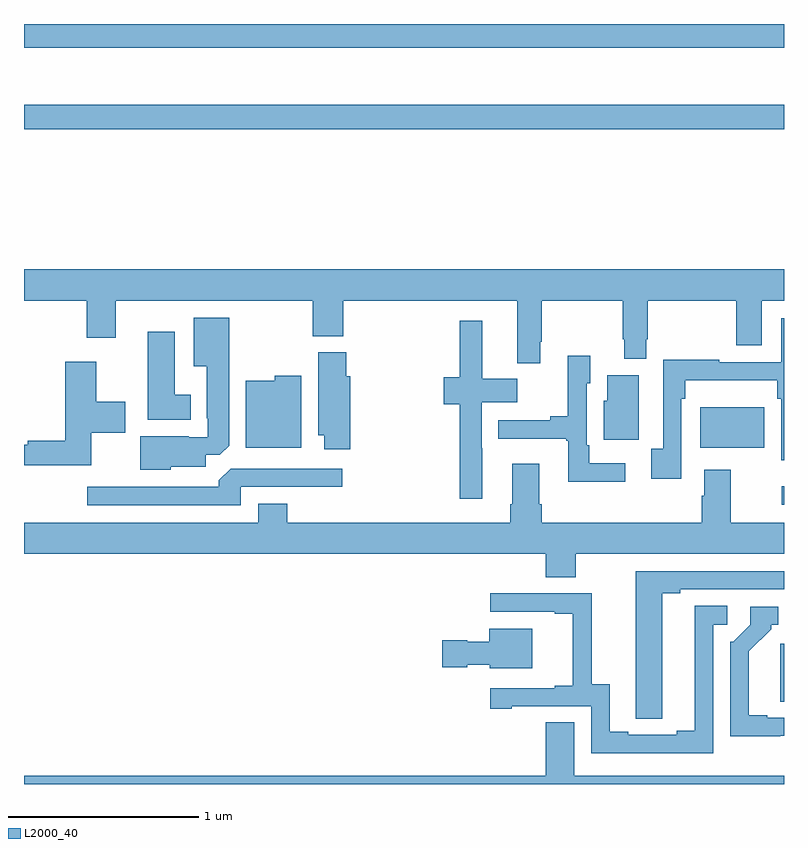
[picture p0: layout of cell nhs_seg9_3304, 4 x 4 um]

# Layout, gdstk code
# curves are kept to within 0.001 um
import gdstk
lib = gdstk.Library(unit=1e-6, precision=1e-09)
def R(c, l, rs):  # rectangles x0, y0, x1, y1
    for r in rs: c.add(gdstk.rectangle(r[:2], r[2:], *l))
def P(c, l, *ps):  # polygons
    for p in ps: c.add(gdstk.Polygon(p, *l))
L2000_40 = (2000, 40)

nhs_seg9_3304 = lib.new_cell('nhs_seg9_3304')
R(nhs_seg9_3304, L2000_40, [(302.981,1236.934,303,1237.237), (302.988,1237.971,303,1238.068), (302.558,1238.27,302.896,1238.482), (299,1239.946,303,1240.075), (299,1240.376,303,1240.5)])
P(nhs_seg9_3304, L2000_40, [(301.717,1238.827),(301.725,1238.827),(301.725,1239.044),(302.152,1239.044),(302.152,1238.842),(302.159,1238.842),(302.159,1238.737),(302.275,1238.737),(302.275,1238.842),(302.283,1238.842),(302.283,1239.044),(302.749,1239.044),(302.749,1238.808),(302.884,1238.808),(302.884,1239.044),(303,1239.044),(303,1239.208),(299,1239.208),(299,1239.044),(299.33,1239.044),(299.33,1238.85),(299.482,1238.85),(299.482,1239.044),(300.52,1239.044),(300.52,1238.857),(300.68,1238.857),(300.68,1239.044),(301.595,1239.044),(301.595,1238.715),(301.717,1238.715)],
  [(299.772,1238.171),(299.956,1238.171),(299.956,1238.232),(300.03,1238.232),(300.079,1238.281),(300.079,1238.953),(299.894,1238.953),(299.894,1238.699),(299.963,1238.699),(299.963,1238.425),(299.967,1238.425),(299.967,1238.325),(299.867,1238.325),(299.867,1238.329),(299.612,1238.329),(299.612,1238.153),(299.772,1238.153)],
  [(302.46,1238.528),(302.48,1238.528),(302.48,1238.624),(302.965,1238.624),(302.965,1238.528),(302.985,1238.528),(302.985,1238.204),(303,1238.204),(303,1238.952),(302.985,1238.952),(302.985,1238.721),(302.66,1238.721),(302.66,1238.734),(302.364,1238.734),(302.364,1238.265),(302.301,1238.265),(302.301,1238.106),(302.46,1238.106)],
  [(301.411,1238.267),(301.41,1238.267),(301.41,1238.51),(301.595,1238.51),(301.595,1238.632),(301.412,1238.632),(301.412,1238.938),(301.294,1238.938),(301.294,1238.64),(301.208,1238.64),(301.208,1238.498),(301.294,1238.498),(301.294,1238.001),(301.411,1238.001)],
  [(299.878,1238.548),(299.794,1238.548),(299.794,1238.881),(299.651,1238.881),(299.651,1238.417),(299.878,1238.417)],
  [(300.716,1238.646),(300.695,1238.646),(300.695,1238.772),(300.548,1238.772),(300.548,1238.336),(300.581,1238.336),(300.581,1238.262),(300.716,1238.262)],
  [(302.164,1238.187),(301.975,1238.187),(301.975,1238.284),(301.962,1238.284),(301.962,1238.61),(301.981,1238.61),(301.981,1238.755),(301.861,1238.755),(301.861,1238.435),(301.769,1238.435),(301.769,1238.415),(301.495,1238.415),(301.495,1238.318),(301.854,1238.318),(301.854,1238.307),(301.865,1238.307),(301.865,1238.09),(302.164,1238.09)],
  [(299.353,1238.348),(299.533,1238.348),(299.533,1238.511),(299.38,1238.511),(299.38,1238.722),(299.218,1238.722),(299.218,1238.306),(299.02,1238.306),(299.02,1238.286),(299,1238.286),(299,1238.178),(299.353,1238.178)],
  [(302.235,1238.416),(302.236,1238.416),(302.236,1238.652),(302.069,1238.652),(302.069,1238.517),(302.051,1238.517),(302.051,1238.313),(302.235,1238.313)],
  [(300.46,1238.65),(300.321,1238.65),(300.321,1238.623),(300.167,1238.623),(300.167,1238.27),(300.46,1238.27)],
  [(301.905,1237.712),(303,1237.712),(303,1237.876),(302.719,1237.876),(302.719,1238.155),(302.579,1238.155),(302.579,1238.018),(302.567,1238.018),(302.567,1237.876),(301.724,1237.876),(301.724,1237.972),(301.711,1237.972),(301.711,1238.185),(301.571,1238.185),(301.571,1237.972),(301.559,1237.972),(301.559,1237.876),(300.386,1237.876),(300.386,1237.975),(300.233,1237.975),(300.233,1237.876),(299,1237.876),(299,1237.712),(301.745,1237.712),(301.745,1237.588),(301.905,1237.588)],
  [(300.141,1238.064),(300.676,1238.064),(300.676,1238.16),(300.087,1238.16),(300.026,1238.098),(300.026,1238.064),(299.334,1238.064),(299.334,1237.968),(300.141,1237.968)],
  [(302.359,1237.504),(302.455,1237.504),(302.455,1237.524),(303,1237.524),(303,1237.62),(302.219,1237.62),(302.219,1236.952),(302.22,1236.952),(302.22,1236.844),(302.359,1236.844)],
  [(302.628,1237.338),(302.701,1237.338),(302.701,1237.439),(302.531,1237.439),(302.531,1236.779),(302.435,1236.779),(302.435,1236.759),(302.179,1236.759),(302.179,1236.774),(302.083,1236.774),(302.083,1237.025),(301.989,1237.025),(301.989,1237.503),(301.455,1237.503),(301.455,1237.407),(301.793,1237.407),(301.793,1237.395),(301.889,1237.395),(301.889,1237.018),(301.793,1237.018),(301.793,1237.005),(301.455,1237.005),(301.455,1236.897),(301.567,1236.897),(301.567,1236.909),(301.986,1236.909),(301.986,1236.663),(302.628,1236.663)],
  [(302.981,1236.753),(303,1236.753),(303,1236.849),(302.911,1236.849),(302.911,1236.862),(302.815,1236.862),(302.815,1237.198),(302.932,1237.315),(302.932,1237.338),(302.971,1237.338),(302.971,1237.434),(302.823,1237.434),(302.823,1237.338),(302.733,1237.248),(302.718,1237.248),(302.718,1236.752)],
  [(301.675,1237.318),(301.448,1237.318),(301.448,1237.249),(301.332,1237.249),(301.332,1237.257),(301.2,1237.257),(301.2,1237.115),(301.332,1237.115),(301.332,1237.127),(301.452,1237.127),(301.452,1237.109),(301.675,1237.109)],
  [(303,1236.544),(301.897,1236.544),(301.897,1236.824),(301.745,1236.824),(301.745,1236.544),(299,1236.544),(299,1236.5),(303,1236.5)])

lib.write_gds('nhs_seg9_3304.gds')
